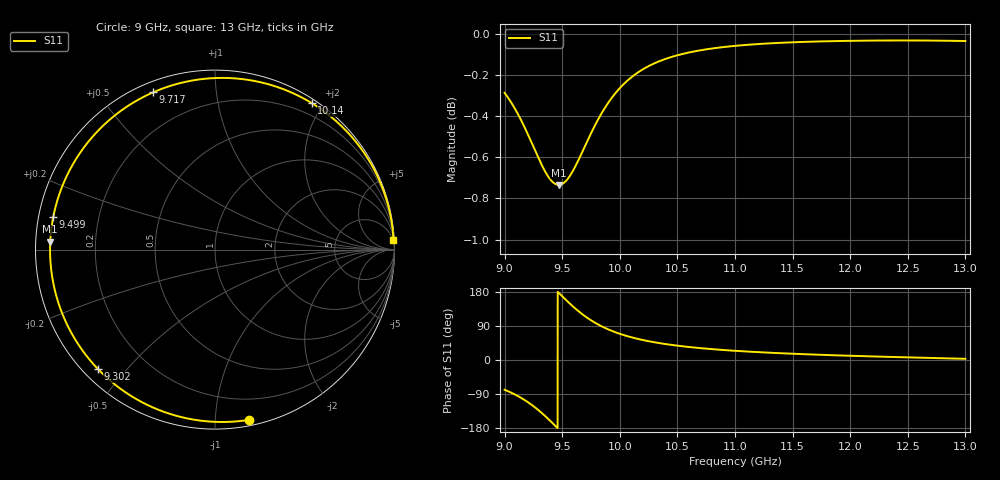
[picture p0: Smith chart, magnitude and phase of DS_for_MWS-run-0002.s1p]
! TOUCHSTONE file generated by CST DESIGN STUDIO
! Date and time: Tue Feb  4 14:04:11 2025
! Project name: C:\Work\MatlabApps\UnitCellOptimizationMatlab\CST\unitcell.cst
! Tree item: Tasks\Sweep1\SPara1\S-Parameters
! Header version: 2024
! Port assignment regex: !\s*Touchstone port\s*([0-9]+)\s*=\s*(CST MWS port|CST DES external port|CST DES block port)\s*(.+)\s* \(\"(.*)\"\)(\s*mode\s*([0-9]+))?.*
! Touchstone port assignment:
! Touchstone port 1 = CST DES external port 1 ("")
# GHz S MA R 50
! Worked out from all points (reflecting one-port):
!   4001 points, 9 GHz to 13 GHz, reference 50 ohm
!   lowest |S11| = -0.7 dB at 9.47 GHz (marker M1), VSWR 23.68, Z = 2.11 + j1.21 ohm
!   phase of S11 starts at -79 deg and turns -278 deg over the sweep
!   S11 on the Smith chart (normalised r, x): 9 GHz: 0.04, -1.22; 9.302 GHz: 0.04, -0.42; 9.499 GHz: 0.04, +0.10; 9.717 GHz: 0.04, +0.68; 10.14 GHz: 0.05, +1.86; 13 GHz: 3, +36
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9  0.9675 -78.6
9.074  0.9606 -88.6
9.171  0.9494 -105.1
9.239  0.9403 -119.3
9.302  0.9318 -134.5
9.346  0.9265 -146.2
9.392  0.9221 -159.4
9.432  0.9197 -171.3
9.47  0.919 177.2
9.499  0.9194 168.5
9.5  0.9194 168.2
9.552  0.9223 152.8
9.611  0.9282 136.6
9.663  0.9346 123.5
9.717  0.9416 111.5
9.773  0.9487 100.5
9.835  0.9558 90.0
9.916  0.9636 78.7
10  0.9701 69.1
10.145  0.9781 56.5
10.306  0.9838 46.5
10.5  0.9881 37.8
10.722  0.9911 30.7
11  0.9933 24.3
11.5  0.9953 16.5
12  0.9961 11.1
12.5  0.9963 6.9
13  0.996 3.2
